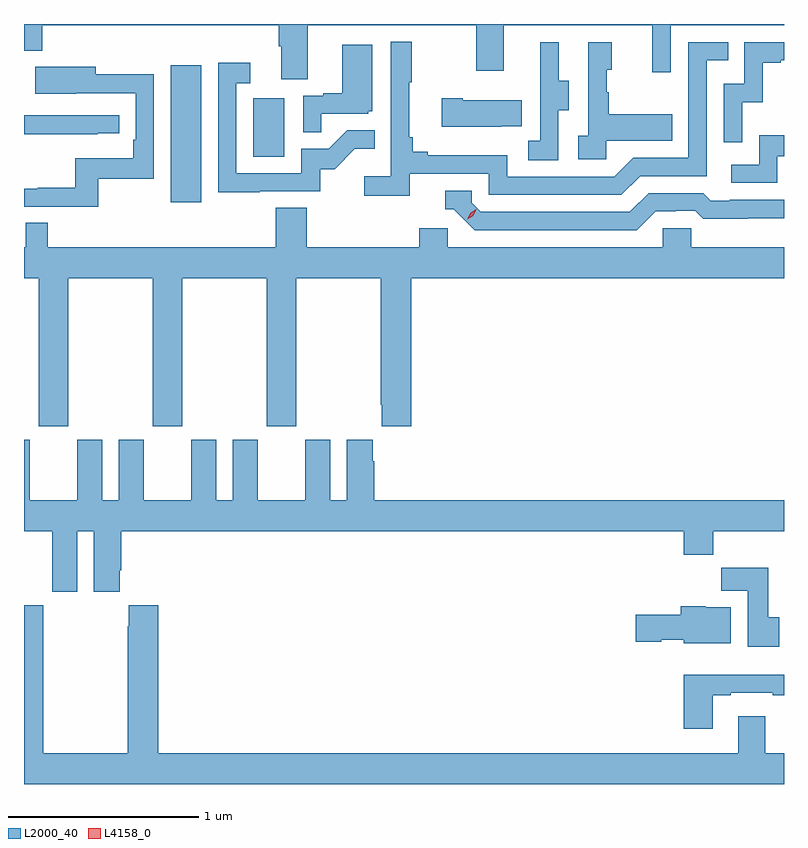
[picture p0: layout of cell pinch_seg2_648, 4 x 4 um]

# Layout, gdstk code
import gdstk
lib = gdstk.Library(unit=1e-6, precision=1e-09)
def R(c, l, rs):  # rectangles x0, y0, x1, y1
    for r in rs: c.add(gdstk.rectangle(r[:2], r[2:], *l))
def P(c, l, *ps):  # polygons
    for p in ps: c.add(gdstk.Polygon(p, *l))
L2000_40 = (2000, 40)
L4158_0 = (4158, 0)

pinch_seg2_648 = lib.new_cell('pinch_seg2_648')
R(pinch_seg2_648, L2000_40, [(1042.229,600.084,1042.39,600.805), (1042.664,600.324,1042.828,600.631)])
P(pinch_seg2_648, L2000_40, [(1042.951,601.016),(1043.836,601.016),(1043.836,600.777),(1043.983,600.777),(1043.983,601.016),(1044.764,601.016),(1044.764,600.768),(1044.861,600.768),(1044.861,601.016),(1045.457,601.016),(1045.457,601.022),(1041.457,601.022),(1041.457,600.881),(1041.554,600.881),(1041.554,601.016),(1042.799,601.016),(1042.799,600.904),(1042.811,600.904),(1042.811,600.73),(1042.951,600.73)],
  [(1043.486,600.234),(1043.904,600.234),(1043.904,600.123),(1044.601,600.123),(1044.7,600.222),(1045.05,600.222),(1045.05,600.831),(1045.163,600.831),(1045.163,600.927),(1044.954,600.927),(1044.954,600.318),(1044.663,600.318),(1044.564,600.219),(1044,600.219),(1044,600.331),(1043.581,600.331),(1043.581,600.35),(1043.504,600.35),(1043.504,600.427),(1043.485,600.427),(1043.485,600.715),(1043.497,600.715),(1043.497,600.928),(1043.388,600.928),(1043.388,600.22),(1043.247,600.22),(1043.247,600.118),(1043.486,600.118)],
  [(1045.236,600.611),(1045.346,600.611),(1045.346,600.819),(1045.441,600.819),(1045.441,600.831),(1045.457,600.831),(1045.457,600.927),(1045.248,600.927),(1045.248,600.708),(1045.14,600.708),(1045.14,600.399),(1045.236,600.399)],
  [(1044.27,600.568),(1044.325,600.568),(1044.325,600.723),(1044.271,600.723),(1044.271,600.925),(1044.173,600.925),(1044.173,600.711),(1044.174,600.711),(1044.174,600.407),(1044.111,600.407),(1044.111,600.304),(1044.27,600.304)],
  [(1044.522,600.407),(1044.869,600.407),(1044.869,600.547),(1044.535,600.547),(1044.535,600.662),(1044.525,600.662),(1044.525,600.78),(1044.55,600.78),(1044.55,600.925),(1044.426,600.925),(1044.426,600.434),(1044.375,600.434),(1044.375,600.309),(1044.522,600.309)],
  [(1043.021,600.549),(1043.268,600.549),(1043.268,600.564),(1043.29,600.564),(1043.29,600.913),(1043.132,600.913),(1043.132,600.658),(1043.033,600.658),(1043.033,600.645),(1042.926,600.645),(1042.926,600.451),(1043.021,600.451)],
  [(1042.697,600.141),(1043.016,600.141),(1043.016,600.258),(1043.092,600.258),(1043.199,600.365),(1043.303,600.365),(1043.303,600.464),(1043.159,600.464),(1043.061,600.366),(1042.917,600.366),(1042.917,600.237),(1042.575,600.237),(1042.575,600.711),(1042.648,600.711),(1042.648,600.817),(1042.479,600.817),(1042.479,600.136),(1042.697,600.136)],
  [(1041.847,600.207),(1042.14,600.207),(1042.14,600.758),(1041.835,600.758),(1041.835,600.796),(1041.517,600.796),(1041.517,600.656),(1041.731,600.656),(1041.731,600.657),(1042.044,600.657),(1042.044,600.412),(1042.031,600.412),(1042.031,600.316),(1041.726,600.316),(1041.726,600.161),(1041.529,600.161),(1041.529,600.156),(1041.457,600.156),(1041.457,600.06),(1041.847,600.06)],
  [(1043.969,600.485),(1044.077,600.485),(1044.077,600.622),(1043.767,600.622),(1043.767,600.63),(1043.655,600.63),(1043.655,600.482),(1043.969,600.482)],
  [(1041.845,600.447),(1041.958,600.447),(1041.958,600.543),(1041.457,600.543),(1041.457,600.442),(1041.845,600.442)],
  [(1045.422,600.327),(1045.457,600.327),(1045.457,600.436),(1045.326,600.436),(1045.326,600.282),(1045.179,600.282),(1045.179,600.186),(1045.422,600.186)],
  [(1044.781,600.036),(1044.888,600.036),(1044.888,600.039),(1044.991,600.039),(1045.033,599.997),(1045.266,599.997),(1045.266,599.999),(1045.457,599.999),(1045.457,600.096),(1045.171,600.096),(1045.171,600.093),(1045.072,600.093),(1045.033,600.132),(1044.744,600.132),(1044.645,600.033),(1043.862,600.033),(1043.814,600.081),(1043.814,600.144),(1043.675,600.144),(1043.675,600.048),(1043.718,600.048),(1043.829,599.937),(1044.682,599.937)],
  [(1041.69,599.684),(1042.135,599.684),(1042.135,598.905),(1042.29,598.905),(1042.29,599.684),(1042.735,599.684),(1042.735,598.905),(1042.89,598.905),(1042.89,599.684),(1043.335,599.684),(1043.335,599.017),(1043.339,599.017),(1043.339,598.905),(1043.495,598.905),(1043.495,599.684),(1045.457,599.684),(1045.457,599.848),(1044.969,599.848),(1044.969,599.946),(1044.819,599.946),(1044.819,599.848),(1043.688,599.848),(1043.688,599.946),(1043.537,599.946),(1043.537,599.848),(1042.946,599.848),(1042.946,600.056),(1042.781,600.056),(1042.781,599.848),(1041.581,599.848),(1041.581,599.975),(1041.465,599.975),(1041.465,599.848),(1041.457,599.848),(1041.457,599.684),(1041.535,599.684),(1041.535,598.905),(1041.69,598.905)],
  [(1041.736,598.352),(1041.824,598.352),(1041.824,598.035),(1041.961,598.035),(1041.961,598.147),(1041.968,598.147),(1041.968,598.352),(1044.929,598.352),(1044.929,598.228),(1045.085,598.228),(1045.085,598.352),(1045.457,598.352),(1045.457,598.516),(1043.3,598.516),(1043.3,598.721),(1043.293,598.721),(1043.293,598.834),(1043.156,598.834),(1043.156,598.516),(1043.068,598.516),(1043.068,598.834),(1042.937,598.834),(1042.937,598.516),(1042.687,598.516),(1042.687,598.834),(1042.556,598.834),(1042.556,598.516),(1042.468,598.516),(1042.468,598.834),(1042.337,598.834),(1042.337,598.516),(1042.087,598.516),(1042.087,598.834),(1041.956,598.834),(1041.956,598.516),(1041.868,598.516),(1041.868,598.834),(1041.737,598.834),(1041.737,598.516),(1041.487,598.516),(1041.487,598.834),(1041.457,598.834),(1041.457,598.352),(1041.605,598.352),(1041.605,598.035),(1041.736,598.035)],
  [(1045.432,597.9),(1045.375,597.9),(1045.375,598.159),(1045.126,598.159),(1045.126,598.04),(1045.265,598.04),(1045.265,597.744),(1045.432,597.744)],
  [(1045.457,597.184),(1045.357,597.184),(1045.357,597.379),(1045.217,597.379),(1045.217,597.184),(1042.163,597.184),(1042.163,597.964),(1042.007,597.964),(1042.007,597.851),(1042.003,597.851),(1042.003,597.184),(1041.558,597.184),(1041.558,597.964),(1041.457,597.964),(1041.457,597.022),(1045.457,597.022)],
  [(1045.177,597.952),(1045.044,597.952),(1045.044,597.958),(1044.914,597.958),(1044.914,597.912),(1044.678,597.912),(1044.678,597.77),(1044.81,597.77),(1044.81,597.782),(1044.93,597.782),(1044.93,597.764),(1045.177,597.764)],
  [(1045.081,597.489),(1045.177,597.489),(1045.177,597.501),(1045.397,597.501),(1045.397,597.489),(1045.457,597.489),(1045.457,597.598),(1044.929,597.598),(1044.929,597.312),(1045.081,597.312)])
P(pinch_seg2_648, L4158_0, [(1043.791,599.995),(1043.791,599.995),(1043.807,600.028),(1043.838,600.047),(1043.838,600.047),(1043.838,600.047),(1043.822,600.014),(1043.791,599.995)])

lib.write_gds('pinch_seg2_648.gds')
